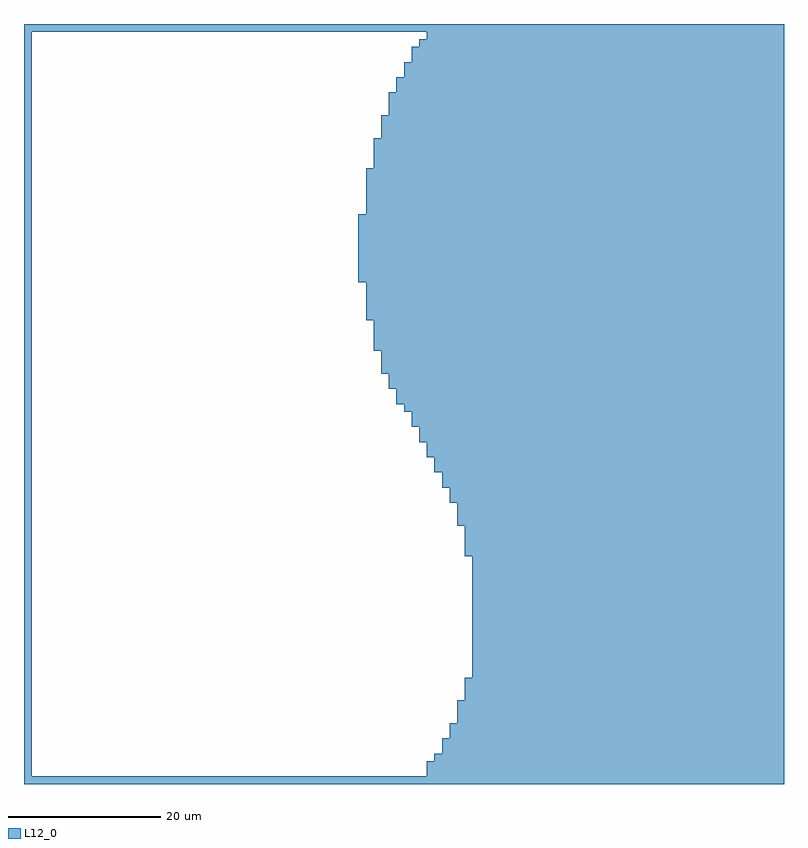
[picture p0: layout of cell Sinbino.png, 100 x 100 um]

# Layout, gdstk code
import gdstk
lib = gdstk.Library(unit=1e-6, precision=1e-09)
def R(c, l, rs):  # rectangles x0, y0, x1, y1
    for r in rs: c.add(gdstk.rectangle(r[:2], r[2:], *l))
def A(c, l, x, y, w, h, nx, ny, dx, dy):  # array of equal rectangles
    R(c, l, [(x+i*dx, y+j*dy, x+i*dx+w, y+j*dy+h) for i in range(nx) for j in range(ny)])
L12_0 = (12, 0)

sinbino_png = lib.new_cell('Sinbino.png')
A(sinbino_png, L12_0, -50, -49, 1, 1, 1, 98, 0, 1)
A(sinbino_png, L12_0, 7, -42, 43, 1, 1, 3, 0, 1)
A(sinbino_png, L12_0, 8, -39, 42, 1, 1, 3, 0, 1)
A(sinbino_png, L12_0, 9, -36, 41, 1, 1, 16, 0, 1)
A(sinbino_png, L12_0, 8, -20, 42, 1, 1, 4, 0, 1)
A(sinbino_png, L12_0, 7, -16, 43, 1, 1, 3, 0, 1)
A(sinbino_png, L12_0, -3, 4, 53, 1, 1, 3, 0, 1)
A(sinbino_png, L12_0, -4, 7, 54, 1, 1, 4, 0, 1)
A(sinbino_png, L12_0, -5, 11, 55, 1, 1, 5, 0, 1)
A(sinbino_png, L12_0, -6, 16, 56, 1, 1, 9, 0, 1)
A(sinbino_png, L12_0, -5, 25, 55, 1, 1, 6, 0, 1)
A(sinbino_png, L12_0, -4, 31, 54, 1, 1, 4, 0, 1)
A(sinbino_png, L12_0, -3, 35, 53, 1, 1, 3, 0, 1)
A(sinbino_png, L12_0, -2, 38, 52, 1, 1, 3, 0, 1)
R(sinbino_png, L12_0, [(-50,-50,50,-49), (3,-49,50,-48), (3,-48,50,-47), (4,-47,50,-46), (5,-46,50,-45), (5,-45,50,-44), (6,-44,50,-43), (6,-43,50,-42), (6,-13,50,-12), (6,-12,50,-11), (5,-11,50,-10), (5,-10,50,-9), (4,-9,50,-8), (4,-8,50,-7), (3,-7,50,-6), (3,-6,50,-5), (2,-5,50,-4), (2,-4,50,-3), (1,-3,50,-2), (1,-2,50,-1), (0,-1,50,0), (-1,0,50,1), (-1,1,50,2), (-2,2,50,3), (-2,3,50,4), (-1,41,50,42), (-1,42,50,43), (0,43,50,44), (0,44,50,45), (1,45,50,46), (1,46,50,47), (2,47,50,48), (3,48,50,49), (-50,49,50,50)])

lib.write_gds('Sinbino.png.gds')
